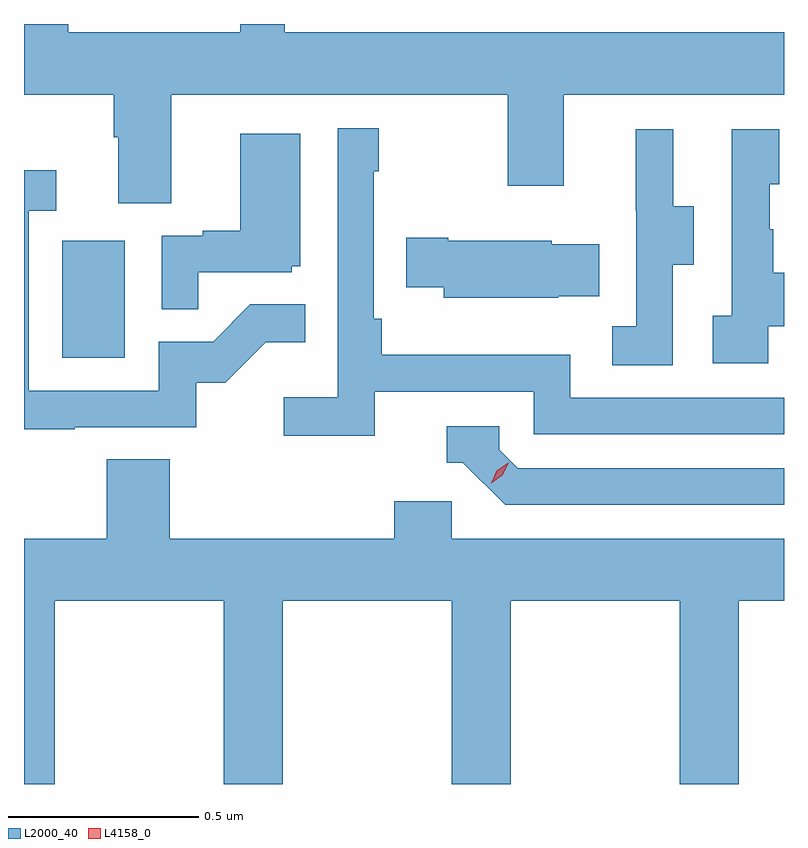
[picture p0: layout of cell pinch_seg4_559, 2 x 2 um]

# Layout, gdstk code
import gdstk
lib = gdstk.Library(unit=1e-6, precision=1e-09)
def R(c, l, rs):  # rectangles x0, y0, x1, y1
    for r in rs: c.add(gdstk.rectangle(r[:2], r[2:], *l))
def P(c, l, *ps):  # polygons
    for p in ps: c.add(gdstk.Polygon(p, *l))
L2000_40 = (2000, 40)
L4158_0 = (4158, 0)

pinch_seg4_559 = lib.new_cell('pinch_seg4_559')
R(pinch_seg4_559, L2000_40, [(1090.838,784.14,1091.002,784.447)])
P(pinch_seg4_559, L2000_40, [(1091.125,784.832),(1092.01,784.832),(1092.01,784.593),(1092.157,784.593),(1092.157,784.832),(1092.737,784.832),(1092.737,784.996),(1091.423,784.996),(1091.423,785.018),(1091.306,785.018),(1091.306,784.996),(1090.853,784.996),(1090.853,785.018),(1090.737,785.018),(1090.737,784.832),(1090.973,784.832),(1090.973,784.72),(1090.985,784.72),(1090.985,784.546),(1091.125,784.546)],
  [(1091.66,784.05),(1092.078,784.05),(1092.078,783.939),(1092.737,783.939),(1092.737,784.035),(1092.174,784.035),(1092.174,784.147),(1091.678,784.147),(1091.678,784.243),(1091.658,784.243),(1091.658,784.631),(1091.671,784.631),(1091.671,784.744),(1091.562,784.744),(1091.562,784.036),(1091.421,784.036),(1091.421,783.934),(1091.66,783.934)],
  [(1092.444,784.384),(1092.499,784.384),(1092.499,784.539),(1092.445,784.539),(1092.445,784.741),(1092.347,784.741),(1092.347,784.527),(1092.348,784.527),(1092.348,784.223),(1092.285,784.223),(1092.285,784.12),(1092.444,784.12)],
  [(1092.696,784.223),(1092.737,784.223),(1092.737,784.363),(1092.709,784.363),(1092.709,784.478),(1092.699,784.478),(1092.699,784.596),(1092.724,784.596),(1092.724,784.741),(1092.6,784.741),(1092.6,784.25),(1092.549,784.25),(1092.549,784.125),(1092.696,784.125)],
  [(1091.195,784.365),(1091.442,784.365),(1091.442,784.38),(1091.464,784.38),(1091.464,784.729),(1091.306,784.729),(1091.306,784.474),(1091.207,784.474),(1091.207,784.461),(1091.1,784.461),(1091.1,784.267),(1091.195,784.267)],
  [(1090.871,783.957),(1091.19,783.957),(1091.19,784.074),(1091.266,784.074),(1091.373,784.181),(1091.477,784.181),(1091.477,784.28),(1091.333,784.28),(1091.235,784.182),(1091.091,784.182),(1091.091,784.053),(1090.749,784.053),(1090.749,784.527),(1090.822,784.527),(1090.822,784.633),(1090.737,784.633),(1090.737,783.952),(1090.871,783.952)],
  [(1092.143,784.301),(1092.251,784.301),(1092.251,784.438),(1092.126,784.438),(1092.126,784.447),(1091.854,784.447),(1091.854,784.455),(1091.743,784.455),(1091.743,784.325),(1091.841,784.325),(1091.841,784.298),(1092.143,784.298)],
  [(1092.737,783.849),(1092.036,783.849),(1091.988,783.897),(1091.988,783.96),(1091.849,783.96),(1091.849,783.864),(1091.892,783.864),(1092.003,783.753),(1092.737,783.753)],
  [(1090.818,783.5),(1091.263,783.5),(1091.263,783.018),(1091.418,783.018),(1091.418,783.5),(1091.863,783.5),(1091.863,783.018),(1092.018,783.018),(1092.018,783.5),(1092.463,783.5),(1092.463,783.018),(1092.618,783.018),(1092.618,783.5),(1092.737,783.5),(1092.737,783.664),(1091.862,783.664),(1091.862,783.762),(1091.711,783.762),(1091.711,783.664),(1091.12,783.664),(1091.12,783.872),(1090.955,783.872),(1090.955,783.664),(1090.737,783.664),(1090.737,783.018),(1090.818,783.018)])
P(pinch_seg4_559, L4158_0, [(1091.966,783.81),(1091.966,783.81),(1091.981,783.843),(1092.011,783.863),(1092.012,783.863),(1092.012,783.863),(1091.996,783.83),(1091.966,783.81)])

lib.write_gds('pinch_seg4_559.gds')
